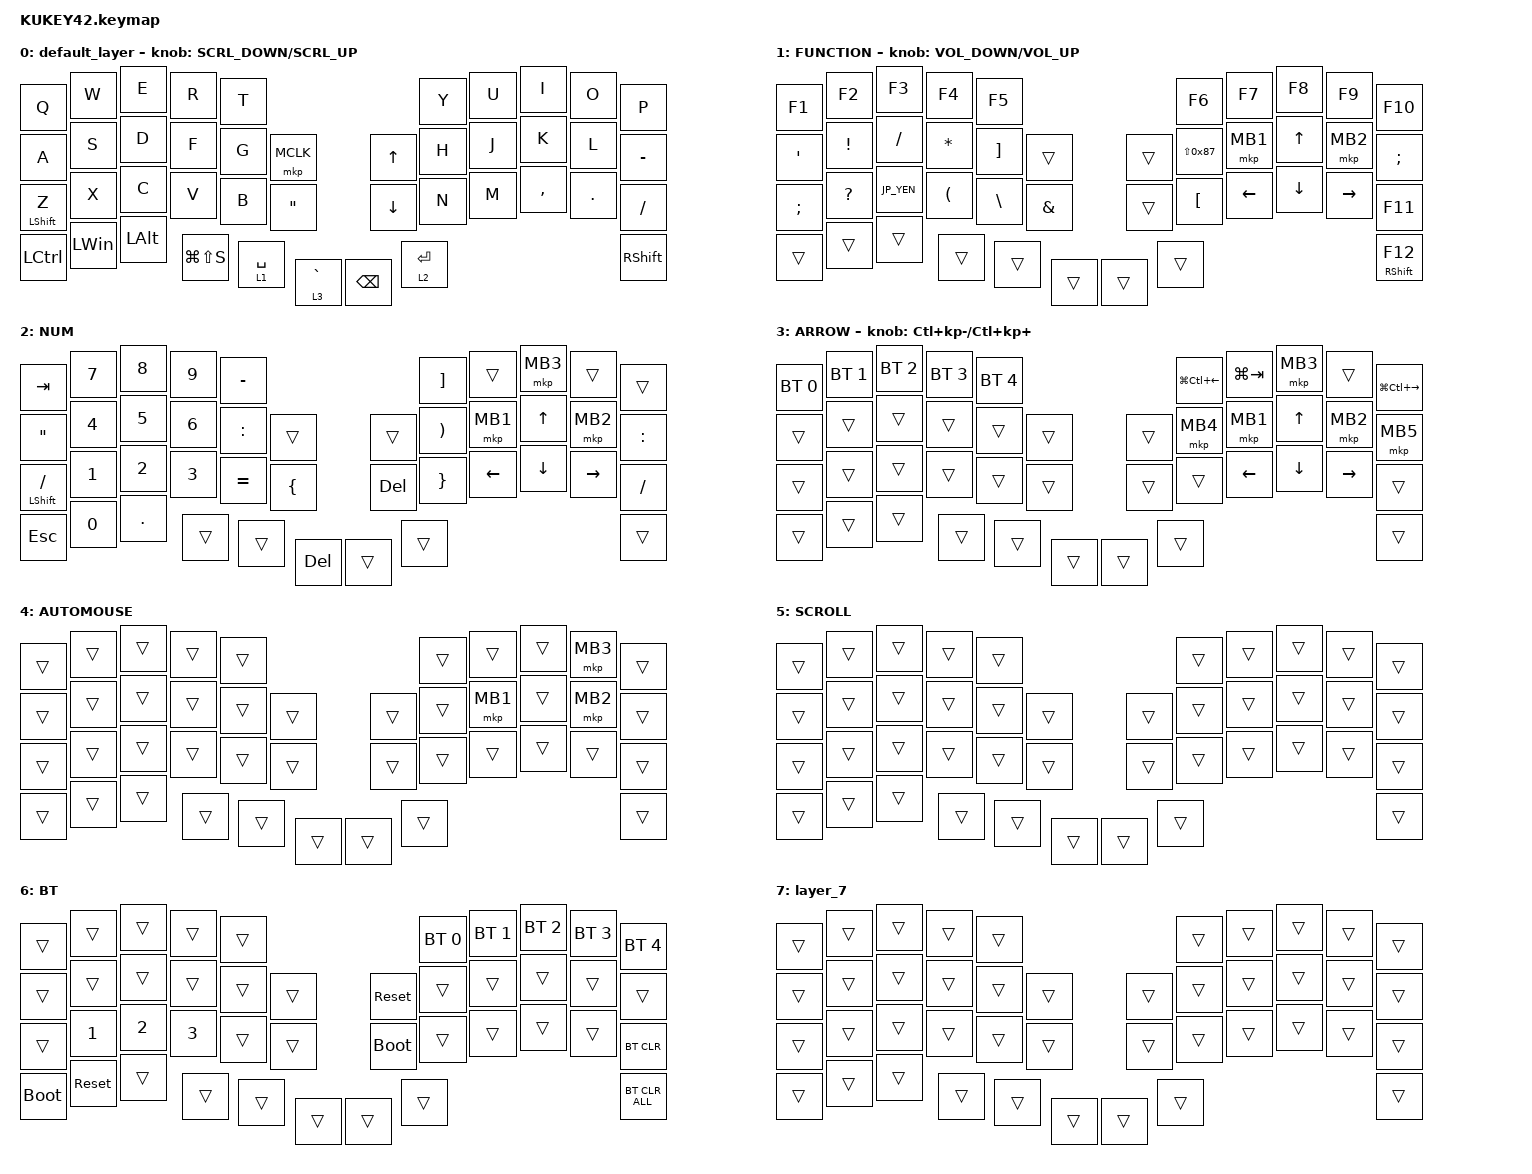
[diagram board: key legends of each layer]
#define ZMK_POINTING_DEFAULT_SCRL_VAL 80

#include <behaviors.dtsi>
#include <dt-bindings/zmk/bt.h>
#include <dt-bindings/zmk/keys.h>
#include <dt-bindings/zmk/pointing.h>

#define MOUSE 4
#define SCROLL 5
#define NUM 6

// OS設定を日本語キーボードのまま使用するための変換定義

#define JP_DQUOTE       AT                // "
#define JP_AMPERSAND    CARET             // &
#define JP_QUOTE        AMPERSAND         // '
#define JP_EQUAL        UNDER             // =
#define JP_CARET        EQUAL             // ^
#define JP_YEN          0x89              // ¥
#define JP_PLUS         COLON             // +
#define JP_TILDE        PLUS              // ~
#define JP_PIPE         LS(0x89)          // |
#define JP_AT           LEFT_BRACKET      // @
#define JP_COLON        SINGLE_QUOTE      // :
#define JP_ASTERISK     DOUBLE_QUOTES     // *
#define JP_BACKQUOTE    LEFT_BRACE        // `
#define JP_UNDERSCORE   LS(0x87)          // _
#define JP_LBRACKET     RIGHT_BRACKET     // [
#define JP_RBRACKET     BACKSLASH         // ]
#define JP_LPAREN       ASTERISK          // (
#define JP_RPAREN       LEFT_PARENTHESIS  // )
#define JP_LBRACE       RIGHT_BRACE       // {
#define JP_RBRACE       PIPE              // }
#define JP_KANA         LANGUAGE_1        // かな
#define JP_EISU         LANGUAGE_2        // 英数
#define JP_HANZEN       GRAVE             // 半角/全角

&mt {
    flavor = "balanced";
    quick-tap-ms = <0>;
};

/ {
    combos { compatible = "zmk,combos"; };

    macros {
        to_layer_0: to_layer_0 {
            compatible = "zmk,behavior-macro-one-param";
            #binding-cells = <1>;
            bindings = <&to 0 &macro_param_1to1 &kp MACRO_PLACEHOLDER>;
            label = "TO_LAYER_0";
        };
    };

    behaviors {
        lt_to_layer_0: lt_to_layer_0 {
            compatible = "zmk,behavior-hold-tap";
            label = "LAYER_TAP_TO_0";
            bindings = <&mo>, <&to_layer_0>;

            #binding-cells = <2>;
            tapping-term-ms = <200>;
        };

        tapdance_kana: tapdance_kana {
            compatible = "zmk,behavior-tap-dance";
            label = "TAPDANCE_KANA";
            #binding-cells = <0>;
            bindings = <&kp INT2>, <&kp LANGUAGE_2>, <&sl 1>;

            tapping-term-ms = <400>;
        };

        WheelScroll: WheelScroll {
            compatible = "zmk,behavior-sensor-rotate-var";
            label = "WHEELSCROLL";
            #sensor-binding-cells = <2>;
            bindings = <&msc>, <&msc>;

            tap-ms = <20>;
        };
    };

    keymap {
        compatible = "zmk,keymap";

        default_layer {
            bindings = <
&kp Q             &kp W         &kp E         &kp R          &kp T                                              &kp Y        &kp U  &kp I      &kp O    &kp P
&kp A             &kp S         &kp D         &kp F          &kp G        &mkp MCLK              &kp UP         &kp H        &kp J  &kp K      &kp L    &kp MINUS
&mt LEFT_SHIFT Z  &kp X         &kp C         &kp V          &kp B        &kp DOUBLE_QUOTES      &kp DOWN       &kp N        &kp M  &kp COMMA  &kp DOT  &kp SLASH
&kp LCTRL         &kp LEFT_WIN  &kp LEFT_ALT  &kp LG(LS(S))  &lt 1 SPACE  &lt 3 GRAVE            &kp BACKSPACE  &lt 2 ENTER                             &kp RIGHT_SHIFT
            >;

            sensor-bindings = <&WheelScroll SCRL_DOWN SCRL_UP>;
        };

        FUNCTION {
            bindings = <
&kp F1         &kp F2           &kp F3      &kp F4         &kp F5                                     &kp F6             &kp F7    &kp F8    &kp F9     &kp F10
&kp JP_COLON   &kp EXCLAMATION  &kp SLASH   &kp JP_LPAREN  &kp JP_LBRACKET  &trans            &trans  &kp JP_UNDERSCORE  &mkp MB1  &kp UP    &mkp MB2   &kp SEMICOLON
&kp SEMICOLON  &kp QUESTION     &kp JP_YEN  &kp JP_RPAREN  &kp JP_RBRACKET  &kp JP_QUOTE      &trans  &kp JP_AT          &kp LEFT  &kp DOWN  &kp RIGHT  &kp F11
&trans         &trans           &trans      &trans         &trans           &trans            &trans  &trans                                            &mt RIGHT_SHIFT F12
            >;

            sensor-bindings = <&inc_dec_kp C_VOLUME_DOWN C_VOLUME_UP>;
        };

        NUM {
            bindings = <
&kp TAB               &kp N7        &kp N8        &kp N9        &kp MINUS                                      &kp RIGHT_BRACKET  &trans    &mkp MB3  &trans     &trans
&kp JP_ASTERISK       &kp NUMBER_4  &kp N5        &kp NUMBER_6  &kp JP_PLUS  &trans                &trans      &kp RPAR           &mkp MB1  &kp UP    &mkp MB2   &kp COLON
&mt LEFT_SHIFT SLASH  &kp NUMBER_1  &kp NUMBER_2  &kp NUMBER_3  &kp EQUAL    &kp JP_BACKQUOTE      &kp DELETE  &kp RIGHT_BRACE    &kp LEFT  &kp DOWN  &kp RIGHT  &kp SLASH
&kp ESCAPE            &kp N0        &kp PERIOD    &trans        &trans       &kp DEL               &trans      &trans                                            &trans
            >;
        };

        ARROW {
            bindings = <
&bt BT_SEL 0  &bt BT_SEL 1  &bt BT_SEL 2  &bt BT_SEL 3  &bt BT_SEL 4                      &kp LG(LC(LEFT_ARROW))  &kp LG(TAB)     &mkp MB3        &trans           &kp LG(LC(RIGHT))
&trans        &trans        &trans        &trans        &trans        &trans      &trans  &mkp MB4                &mkp MB1        &kp UP_ARROW    &mkp MB2         &mkp MB5
&trans        &trans        &trans        &trans        &trans        &trans      &trans  &trans                  &kp LEFT_ARROW  &kp DOWN_ARROW  &kp RIGHT_ARROW  &trans
&trans        &trans        &trans        &trans        &trans        &trans      &trans  &trans                                                                   &trans
            >;

            sensor-bindings = <&inc_dec_kp LC(KP_MINUS) LC(KP_PLUS)>;
        };

        AUTOMOUSE {
            bindings = <
&trans  &trans  &trans  &trans  &trans                      &trans  &trans  &trans  &mkp MB3  &trans
&trans  &trans  &trans  &trans  &trans  &trans      &trans  &trans  &mkp MB1  &trans  &mkp MB2  &trans
&trans  &trans  &trans  &trans  &trans  &trans      &trans  &trans  &trans    &trans  &trans    &trans
&trans  &trans  &trans  &trans  &trans  &trans      &trans  &trans                              &trans
            >;
        };

        SCROLL {
            bindings = <
&trans  &trans  &trans  &trans  &trans                      &trans  &trans  &trans  &trans  &trans
&trans  &trans  &trans  &trans  &trans  &trans      &trans  &trans  &trans  &trans  &trans  &trans
&trans  &trans  &trans  &trans  &trans  &trans      &trans  &trans  &trans  &trans  &trans  &trans
&trans  &trans  &trans  &trans  &trans  &trans      &trans  &trans                          &trans
            >;
        };

        BT {
            bindings = <
&trans       &trans        &trans        &trans        &trans                           &bt BT_SEL 0  &bt BT_SEL 1  &bt BT_SEL 2  &bt BT_SEL 3  &bt BT_SEL 4
&trans       &trans        &trans        &trans        &trans  &trans      &sys_reset   &trans        &trans        &trans        &trans        &trans
&trans       &kp NUMBER_1  &kp NUMBER_2  &kp NUMBER_3  &trans  &trans      &bootloader  &trans        &trans        &trans        &trans        &bt BT_CLR
&bootloader  &sys_reset    &trans        &trans        &trans  &trans      &trans       &trans                                                  &bt BT_CLR_ALL
            >;
        };

        layer_7 {
            bindings = <
&trans  &trans  &trans  &trans  &trans                      &trans  &trans  &trans  &trans  &trans
&trans  &trans  &trans  &trans  &trans  &trans      &trans  &trans  &trans  &trans  &trans  &trans
&trans  &trans  &trans  &trans  &trans  &trans      &trans  &trans  &trans  &trans  &trans  &trans
&trans  &trans  &trans  &trans  &trans  &trans      &trans  &trans                          &trans
            >;
        };
    };
};
